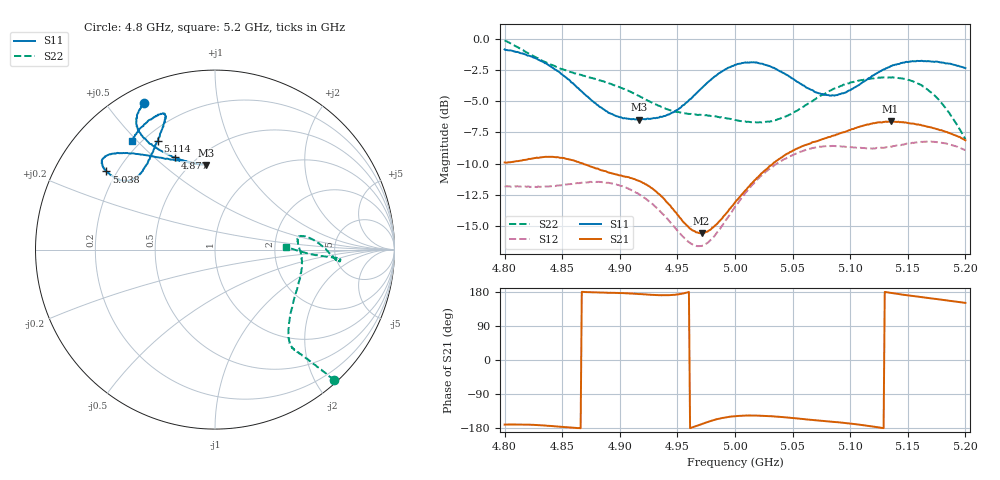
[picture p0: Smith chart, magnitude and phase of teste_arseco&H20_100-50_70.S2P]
! Network Analyzer HP8722D
! Hewlett-Packard
! Data name: Linha & Wilkinson
! Saver's name: Rodrigo Anjos
! Comments: Teste da utilização de aquisição
! continua pelo VNA HP8722D
! Time and date: 6/5/2025 13:09
!  Frequency  S11  S21  S12  S22
# HZ  S  MA R 50
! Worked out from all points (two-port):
!   401 points, 4.8 GHz to 5.2 GHz, reference 50 ohm
!   highest |S21| = -6.61 dB at 5.135 GHz (marker M1); lowest = -15.6 dB at 4.971 GHz (marker M2)
!   |S21| within 3 dB of the highest: 4.822 GHz to 4.854 GHz (31.17 MHz wide, 0.644 % of centre); 5.038 GHz to end of sweep (the widest 2 of 3)
!   lowest |S11| = -6.5 dB at 4.917 GHz (marker M3), VSWR 2.80, Z = 29.3 + j35.6 ohm
!   |S11| at or under -10 dB: nowhere
!   |S22| runs from -8.0 to -0.1 dB; largest |S21 - S12| = 0.83
!   S11 on the Smith chart (normalised r, x): 4.8 GHz: 0.07, +0.63; 4.877 GHz: 0.39, +0.58; 5.038 GHz: 0.16, +0.31; 5.114 GHz: 0.25, +0.57; 5.2 GHz: 0.17, +0.49
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4.8e9  0.9059 115.8  0.3201 -170.5  0.2569 -86.0  0.9837 -47.5
4.819e9  0.8621 120.2  0.3287 -170.5  0.2557 -81.9  0.8818 -48.8
4.835e9  0.7981 122.6  0.337 -172.9  0.2565 -76.5  0.8076 -49.8
4.867e9  0.6142 117.9  0.3181 179.8  0.2656 -67.3  0.7153 -51.5
4.877e9  0.5604 113.6  0.3059 178.6  0.2679 -66.2  0.6939 -51.7
4.901e9  0.4852 100.9  0.284 176.7  0.2577 -66.7  0.636 -49.9
4.917e9  0.4739 96.0  0.2696 174.0  0.2384 -68.5  0.5892 -45.7
4.934e9  0.4837 99.1  0.2395 171.0  0.207 -69.4  0.539 -37.4
4.959e9  0.5607 116.4  0.178 178.6  0.1549 -58.8  0.5005 -20.9
4.971e9  0.6332 124.6  0.1668 -169.4  0.1483 -45.2  0.4959 -13.8
5e9  0.786 137.3  0.2214 -148.4  0.2131 -21.4  0.4731 -0.4
5.018e9  0.8029 141.7  0.2739 -146.6  0.2692 -18.3  0.4633 5.9
5.038e9  0.7455 144.3  0.3299 -149.7  0.3204 -18.3  0.4774 8.8
5.067e9  0.6238 142.0  0.3854 -158.1  0.3656 -20.5  0.5624 4.7
5.088e9  0.5951 133.2  0.4139 -163.9  0.3716 -23.8  0.636 -1.7
5.114e9  0.6831 117.9  0.4525 -173.2  0.3644 -26.5  0.6874 -5.3
5.134e9  0.7697 111.3  0.4657 177.7  0.369 -28.7  0.7003 -4.8
5.135e9  0.7761 111.1  0.4672 177.3  0.3701 -28.8  0.6999 -4.7
5.15e9  0.8059 110.5  0.4599 170.5  0.3804 -31.9  0.6847 -4.0
5.164e9  0.8123 113.2  0.4487 165.0  0.3874 -36.0  0.6431 -3.7
5.181e9  0.8018 119.4  0.4278 158.4  0.3821 -41.3  0.5414 -2.8
5.2e9  0.7626 127.2  0.3925 150.7  0.3586 -46.3  0.3964 2.4
